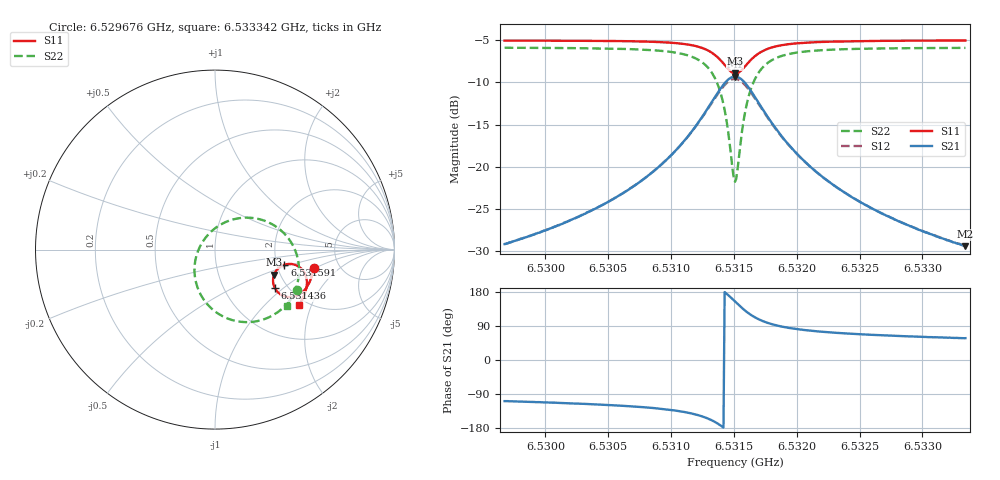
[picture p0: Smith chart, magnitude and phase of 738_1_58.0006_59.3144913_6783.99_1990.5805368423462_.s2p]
#  HZ  S  RI  R  50.00
! Rohde & Schwarz Vector Network Analyzer
! Rohde-Schwarz,ZNB20-2Port,1311601062101988,3.16
! Created: UTC 3/21/2024, 1:23:22 AM
! freq[Hz]  re:S11  im:S11  re:S21  im:S21  re:S12  im:S12  re:S22  im:S22
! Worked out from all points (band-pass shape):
!   401 points, 6.529676 GHz to 6.533342 GHz, reference 50 ohm
!   highest |S21| = -9.29 dB at 6.531509 GHz (marker M1); lowest = -29.4 dB at 6.533342 GHz (marker M2)
!   |S21| within 3 dB of the highest: 6.531325 GHz to 6.531692 GHz (366.5 kHz wide, 0.00561 % of centre)
!   lowest |S11| = -8.9 dB at 6.531509 GHz (marker M3), VSWR 2.11, Z = 92.9 - j29.8 ohm
!   |S11| at or under -10 dB: nowhere
!   |S22| runs from -21.8 to -5.9 dB; largest |S21 - S12| = 0.015
!   S11 on the Smith chart (normalised r, x): 6.529676 GHz: 3.22, -0.98; 6.531436 GHz: 1.72, -0.87; 6.531591 GHz: 2.20, -0.44; 6.533342 GHz: 1.81, -1.64
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6.5296758e9  0.5502 -0.1047  -0.0111 -0.033  -0.0118 -0.0328  0.4567 -0.2231
6.5302899e9  0.5364 -0.1568  -0.0223 -0.0467  -0.0235 -0.0461  0.4195 -0.281
6.5306382e9  0.5224 -0.1903  -0.037 -0.061  -0.0388 -0.0599  0.3811 -0.3233
6.530904e9  0.5032 -0.2208  -0.062 -0.0788  -0.0644 -0.0769  0.3255 -0.3642
6.531124e9  0.4702 -0.2501  -0.1108 -0.0984  -0.1139 -0.0943  0.2281 -0.3997
6.5312798e9  0.4188 -0.2651  -0.1911 -0.0988  -0.1929 -0.0903  0.0835 -0.3888
6.5313715e9  0.368 -0.2513  -0.2687 -0.0582  -0.2659 -0.0465  -0.0425 -0.3045
6.5314082e9  0.3462 -0.2331  -0.3003 -0.0206  -0.2938 -0.00866  -0.0876 -0.235
6.5314356e9  0.3328 -0.2127  -0.3182 0.0181  -0.3089 0.0289  -0.1094 -0.1671
6.5314906e9  0.3243 -0.1586  -0.3214 0.1151  -0.3078 0.1203  -0.0949 -0.0082
6.531509e9  0.3291 -0.1398  -0.3096 0.1479  -0.2957 0.1505  -0.0694 0.0429
6.5315273e9  0.3377 -0.1222  -0.2914 0.1776  -0.2781 0.1779  -0.0345 0.0877
6.531564e9  0.3639 -0.0955  -0.242 0.2221  -0.231 0.2189  0.0544 0.1514
6.5315915e9  0.3872 -0.0842  -0.2 0.2404  -0.1914 0.2359  0.1265 0.1737
6.531619e9  0.4104 -0.0799  -0.1594 0.2471  -0.1531 0.2422  0.1947 0.1775
6.5316556e9  0.4374 -0.0822  -0.1126 0.243  -0.1086 0.2386  0.2719 0.1623
6.5317473e9  0.4814 -0.1065  -0.0379 0.2056  -0.0364 0.2032  0.3917 0.0831
6.5318848e9  0.5063 -0.1463  0.00543 0.1502  0.00659 0.1492  0.4548 -0.0266
6.5321231e9  0.512 -0.1937  0.0223 0.0953  0.0234 0.0949  0.4673 -0.138
6.5324164e9  0.505 -0.2313  0.0235 0.0634  0.0246 0.063  0.4532 -0.2093
6.5327372e9  0.4935 -0.2622  0.0217 0.0456  0.0226 0.0452  0.4338 -0.2566
6.5333421e9  0.4688 -0.309  0.0181 0.0286  0.0187 0.0282  0.3985 -0.3139
